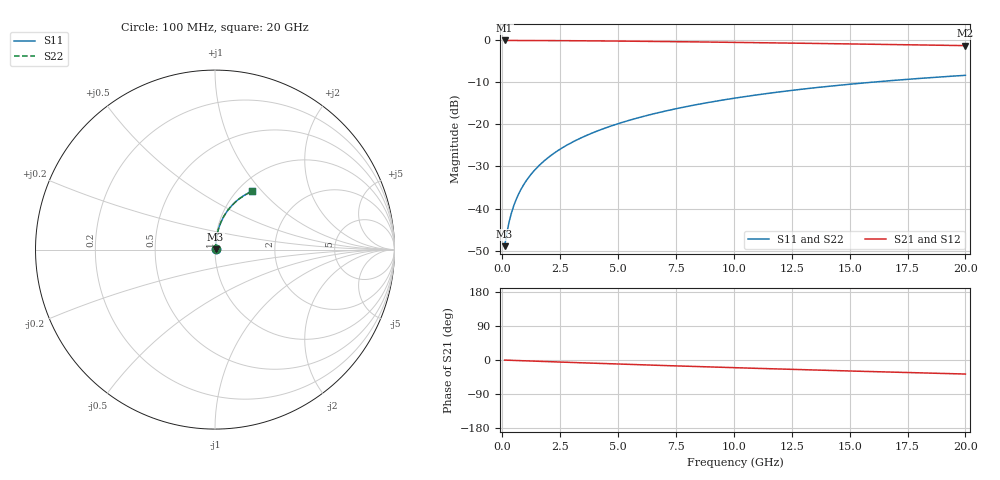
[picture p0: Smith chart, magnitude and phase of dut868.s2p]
! Touchstone file exported from HFSS 2024.1.0
!  File:  C:/UserFiles/LocalFiles/RDL_TSV_Batchsim/temp_RDL_bottom_868_1779864905.aedt
!  Generated:  02:57:27 PM May 27, 2026
!  Design:  RDL_bottom
!  Project:  temp_RDL_bottom_868_1779864905
!  Setup:  Setup1
!  Solution:  Sweep
! Variables:
!  dtsv = 10.80580581um
!  hbump = 3um
!  htsv = 55.82um
!  ldown = 505.64um
!  lrdl = 100um
!  p = 40
!  p1 = 46.81um
!  rhole = 1um
!  t = 450um
!  tdown = 4.01um
!  trdl = 3.915915916um
!  wdown = 16.46um
!  wrdl = 20um
# GHz S MA R 50.000000
! Terminal data exported
! Port[1] = RDL1_T1
! Port[2] = RDL1_T2
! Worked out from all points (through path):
!   200 points, 100 MHz to 20 GHz, reference 50 ohm
!   highest |S21| = -0.02 dB at 100 MHz (marker M1); lowest = -1.3 dB at 20 GHz (marker M2)
!   group delay of S21, straight-line fit = 5.12 ps
!   lowest |S11| = -49.0 dB at 100 MHz (marker M3), VSWR 1.01, Z = 50.3 + j0.217 ohm
!   |S11| at or under -10 dB: start of sweep to 15.88 GHz
!   |S22| runs from -49.0 to -8.3 dB; largest |S21 - S12| = 4e-15
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0.1  0.003566 37.2  0.9972 -0.2  0.9972 -0.2  0.003566 37.2
! Gamma 0 0 0 0
! Port Impedance 50 0 50 0
0.2  0.005183 55.5  0.997 -0.5  0.997 -0.5  0.005183 55.5
0.3  0.007037 64.3  0.9969 -0.7  0.9969 -0.7  0.007038 64.3
0.4  0.008952 69.2  0.9968 -0.9  0.9968 -0.9  0.008952 69.2
0.5  0.01089 72.4  0.9966 -1.1  0.9966 -1.1  0.01089 72.4
0.6  0.01283 74.7  0.9965 -1.3  0.9965 -1.3  0.01283 74.7
0.8  0.01675 77.6  0.9962 -1.8  0.9962 -1.8  0.01675 77.6
1.1  0.02269 80.1  0.9958 -2.4  0.9958 -2.4  0.02269 80.1
1.5  0.03067 81.7  0.995 -3.3  0.995 -3.3  0.03067 81.7
1.8  0.0367 82.3  0.9943 -3.9  0.9943 -3.9  0.0367 82.3
2.1  0.04275 82.7  0.9934 -4.6  0.9934 -4.6  0.04274 82.7
2.7  0.0549 82.9  0.9915 -5.8  0.9915 -5.8  0.0549 82.9
3.5  0.07121 82.6  0.9882 -7.5  0.9882 -7.5  0.0712 82.6
4.2  0.08556 82.1  0.9849 -9.0  0.9849 -9.0  0.08554 82.1
5  0.102 81.3  0.9806 -10.6  0.9806 -10.6  0.102 81.2
5.9  0.1206 80.2  0.9752 -12.4  0.9752 -12.4  0.1206 80.2
6.8  0.1392 79.0  0.9694 -14.2  0.9694 -14.2  0.1392 78.9
8.4  0.1722 76.6  0.9584 -17.3  0.9584 -17.3  0.1721 76.6
10.1  0.2067 73.9  0.9459 -20.4  0.9459 -20.4  0.2067 73.8
13.4  0.2711 68.4  0.9201 -26.3  0.9201 -26.3  0.271 68.4
16.7  0.3304 62.9  0.8931 -31.8  0.8931 -31.8  0.3302 62.9
20  0.3838 57.6  0.8657 -37.0  0.8657 -37.0  0.3836 57.6
